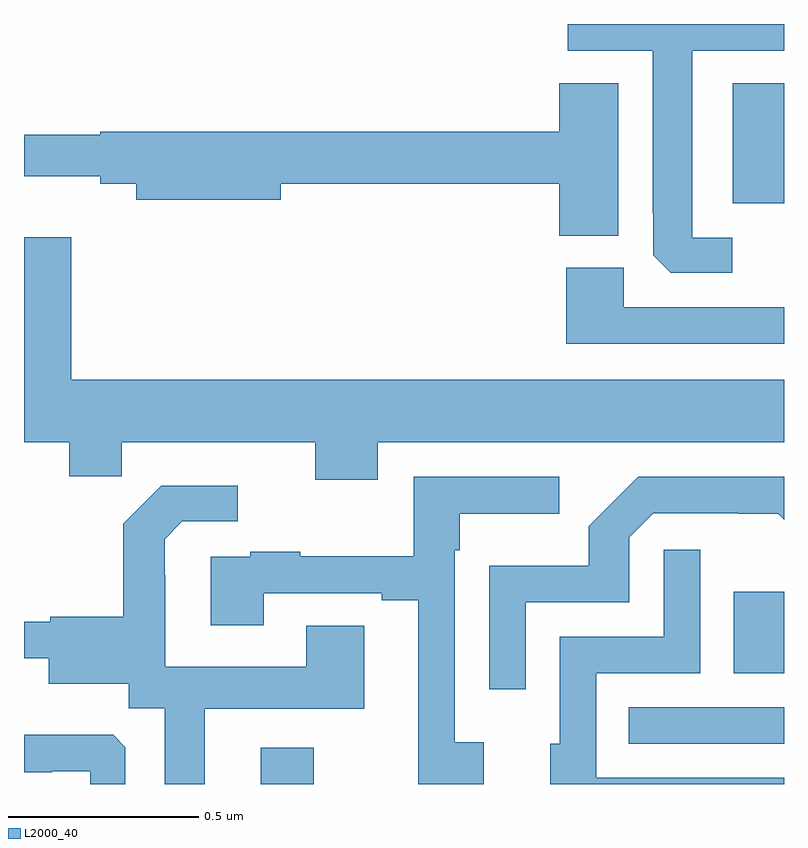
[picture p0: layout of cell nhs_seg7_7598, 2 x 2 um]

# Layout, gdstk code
import gdstk
lib = gdstk.Library(unit=1e-6, precision=1e-09)
def R(c, l, rs):  # rectangles x0, y0, x1, y1
    for r in rs: c.add(gdstk.rectangle(r[:2], r[2:], *l))
def P(c, l, *ps):  # polygons
    for p in ps: c.add(gdstk.Polygon(p, *l))
L2000_40 = (2000, 40)

nhs_seg7_7598 = lib.new_cell('nhs_seg7_7598')
R(nhs_seg7_7598, L2000_40, [(213.623,1049,213.763,1049.095), (214.591,1049.106,215,1049.202), (214.868,1049.291,215,1049.506), (214.865,1050.528,215,1050.844)])
P(nhs_seg7_7598, L2000_40, [(214.864,1050.438),(214.759,1050.438),(214.759,1050.929),(215,1050.929),(215,1051),(214.431,1051),(214.431,1050.929),(214.655,1050.929),(214.655,1050.502),(214.656,1050.502),(214.656,1050.391),(214.702,1050.345),(214.864,1050.345)],
  [(214.564,1050.844),(214.409,1050.844),(214.409,1050.716),(213.2,1050.716),(213.2,1050.709),(213,1050.709),(213,1050.599),(213.2,1050.599),(213.2,1050.58),(213.296,1050.58),(213.296,1050.538),(213.676,1050.538),(213.676,1050.58),(214.409,1050.58),(214.409,1050.443),(214.564,1050.443)],
  [(213.931,1049.9),(215,1049.9),(215,1050.064),(213.124,1050.064),(213.124,1050.439),(213,1050.439),(213,1049.9),(213.119,1049.9),(213.119,1049.81),(213.257,1049.81),(213.257,1049.9),(213.767,1049.9),(213.767,1049.801),(213.931,1049.801)],
  [(215,1050.255),(214.578,1050.255),(214.578,1050.358),(214.427,1050.358),(214.427,1050.159),(215,1050.159)],
  [(214.21,1049.11),(214.134,1049.11),(214.134,1049.615),(214.147,1049.615),(214.147,1049.711),(214.408,1049.711),(214.408,1049.808),(214.026,1049.808),(214.026,1049.6),(213.727,1049.6),(213.727,1049.611),(213.595,1049.611),(213.595,1049.598),(213.491,1049.598),(213.491,1049.418),(213.631,1049.418),(213.631,1049.502),(213.941,1049.502),(213.941,1049.484),(214.037,1049.484),(214.037,1049),(214.21,1049)],
  [(214.32,1049.478),(214.593,1049.478),(214.593,1049.649),(214.656,1049.712),(214.88,1049.712),(214.88,1049.711),(214.985,1049.711),(215,1049.696),(215,1049.808),(214.616,1049.808),(214.486,1049.678),(214.486,1049.575),(214.224,1049.575),(214.224,1049.25),(214.32,1049.25)],
  [(213.475,1049.198),(213.895,1049.198),(213.895,1049.417),(213.743,1049.417),(213.743,1049.308),(213.372,1049.308),(213.372,1049.549),(213.37,1049.549),(213.37,1049.644),(213.417,1049.691),(213.562,1049.691),(213.562,1049.785),(213.361,1049.785),(213.261,1049.685),(213.261,1049.44),(213.069,1049.44),(213.069,1049.427),(213,1049.427),(213,1049.331),(213.065,1049.331),(213.065,1049.264),(213.276,1049.264),(213.276,1049.2),(213.371,1049.2),(213.371,1049),(213.475,1049)],
  [(215,1049.016),(214.506,1049.016),(214.506,1049.292),(214.779,1049.292),(214.779,1049.617),(214.683,1049.617),(214.683,1049.388),(214.41,1049.388),(214.41,1049.106),(214.385,1049.106),(214.385,1049),(215,1049)],
  [(213.267,1049.097),(213.235,1049.129),(213,1049.129),(213,1049.031),(213.074,1049.031),(213.074,1049.034),(213.174,1049.034),(213.174,1049),(213.267,1049)])

lib.write_gds('nhs_seg7_7598.gds')
